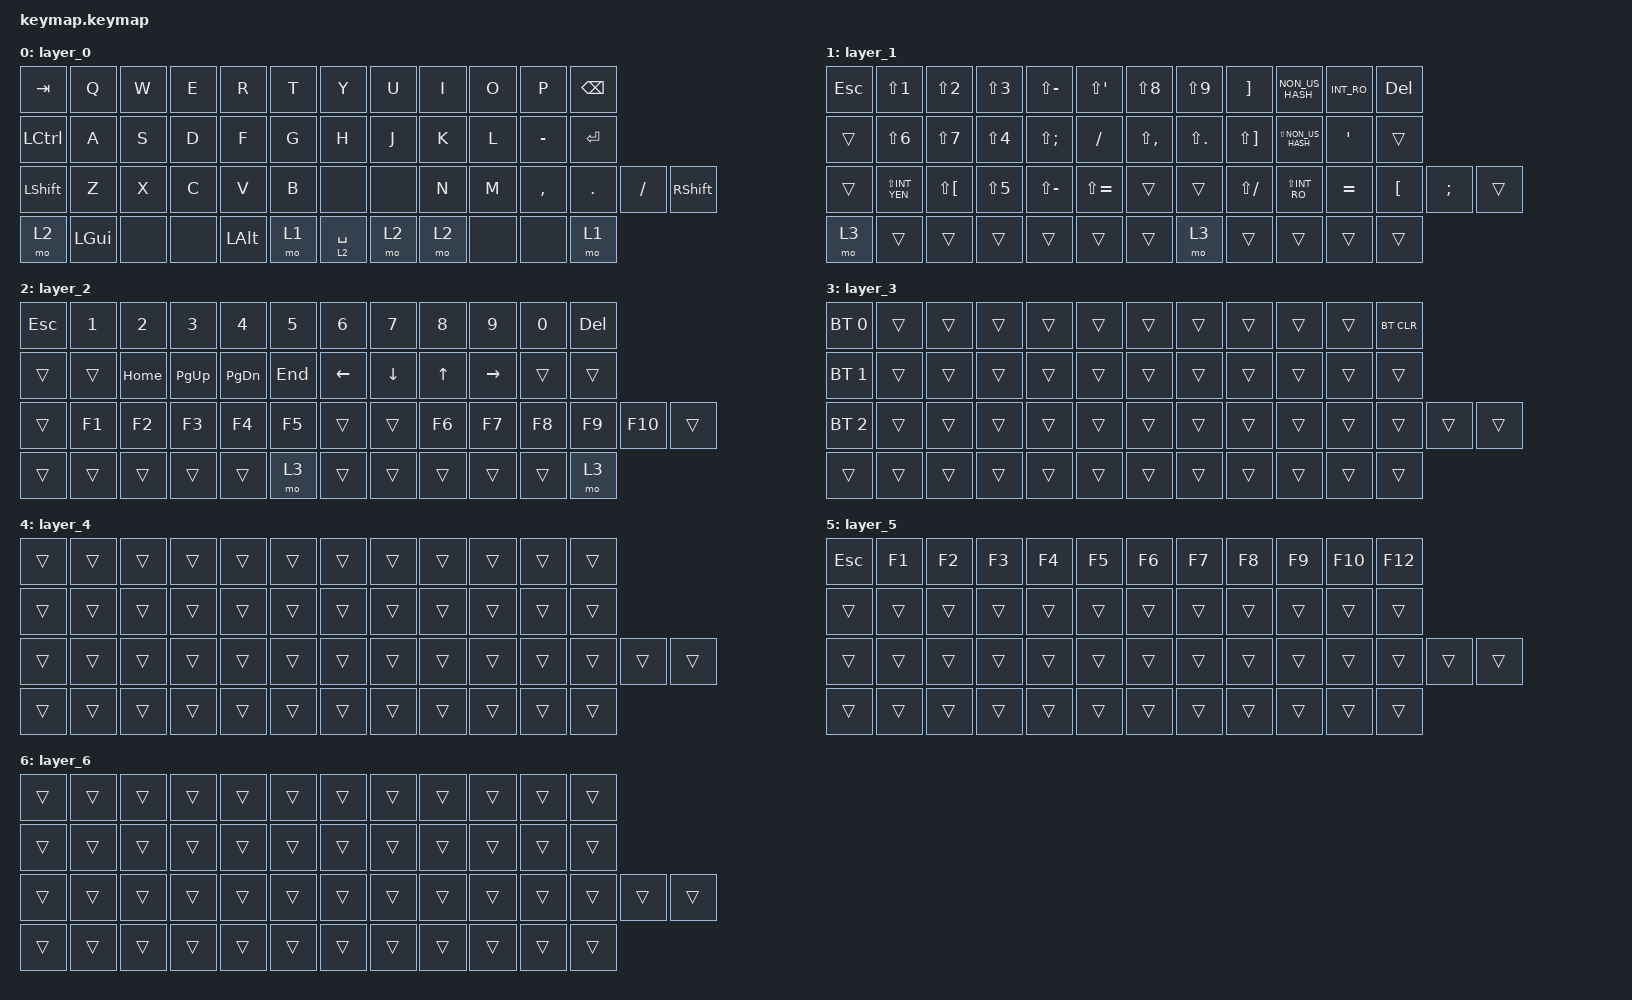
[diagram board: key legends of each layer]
#include <behaviors.dtsi>
#include <dt-bindings/zmk/bt.h>
#include <dt-bindings/zmk/keys.h>
#include <dt-bindings/zmk/pointing.h>

/ {
    combos {
        compatible = "zmk,combos";

        MKP_LCLK {
            bindings = <&mkp LCLK>;
            key-positions = <19 20>;
        };

        MKP_RCLK {
            bindings = <&mkp RCLK>;
            key-positions = <20 21>;
        };

        MKP_MCLK {
            bindings = <&mkp MCLK>;
            key-positions = <34 35>;
        };

        SCROLL {
            bindings = <&mo 4>;
            key-positions = <19 21>;
        };

        IME_OFF {
            bindings = <&kp INT_MUHENKAN>;
            key-positions = <25 26>;
        };

        IME_ON {
            bindings = <&kp INT_HENKAN>;
            key-positions = <35 36>;
        };
    };

    keymap {
        compatible = "zmk,keymap";

        layer_0 {
            bindings = <
&kp TAB    &kp Q         &kp W  &kp E  &kp R         &kp T  &kp Y             &kp U           &kp I  &kp O  &kp P      &kp BSPC
&kp LCTRL  &kp A         &kp S  &kp D  &kp F         &kp G  &kp H             &kp J           &kp K  &kp L  &kp MINUS  &kp ENTER
&kp LSHFT  &kp Z         &kp X  &kp C  &kp V         &kp B  &none             &none           &kp N  &kp M  &kp COMMA  &kp DOT    &kp SLASH     &kp RSHFT
&mo 2      &kp LEFT_GUI  &none  &none  &kp LEFT_ALT  &mo 1  &lt 2 SPACE        &mo 2           &mo 2  &none  &none      &mo 1
            >;
        };

        layer_1 {
            bindings = <
&kp ESCAPE  &kp LS(N1)      &kp LS(N2)    &kp LS(N3)  &kp LS(MINUS)  &kp LS(SQT)  &kp LS(N8)     &kp LS(N9)      &kp RBKT        &kp NON_US_HASH      &kp INT_RO  &kp DEL
&trans      &kp LS(N6)      &kp LS(N7)    &kp LS(N4)  &kp LS(SEMI)   &kp SLASH    &kp LS(COMMA)  &kp LS(PERIOD)  &kp LS(RBKT)    &kp LS(NON_US_HASH)  &kp SQT     &trans
&trans      &kp LS(INT_YEN)  &kp LS(LBKT)  &kp LS(N5)  &kp LS(MINUS)  &kp LS(EQUAL)  &trans        &trans          &kp LS(SLASH)  &kp LS(INT_RO)       &kp EQUAL   &kp LBKT  &kp SEMI  &trans
&mo 3       &trans           &trans             &trans       &trans     &trans        &trans                &mo 3                  &trans            &trans             &trans         &trans
            >;
        };

        layer_2 {
            bindings = <
&kp ESCAPE  &kp N1  &kp N2    &kp N3       &kp N4         &kp N5   &kp N6    &kp N7    &kp N8        &kp N9           &kp N0  &kp DELETE
&trans      &trans  &kp HOME  &kp PAGE_UP  &kp PAGE_DOWN  &kp END  &kp LEFT  &kp DOWN  &kp UP_ARROW  &kp RIGHT_ARROW  &trans  &trans
&trans      &kp F1  &kp F2    &kp F3       &kp F4         &kp F5   &trans    &trans    &kp F6        &kp F7           &kp F8  &kp F9      &kp F10  &trans
&trans      &trans  &trans    &trans       &trans         &mo 3    &trans    &trans    &trans        &trans           &trans  &mo 3
            >;
        };

        layer_3 {
            bindings = <
&bt BT_SEL 0  &trans  &trans  &trans  &trans  &trans  &trans  &trans  &trans  &trans  &trans  &bt BT_CLR
&bt BT_SEL 1  &trans  &trans  &trans  &trans  &trans  &trans  &trans  &trans  &trans  &trans  &trans
&bt BT_SEL 2  &trans  &trans  &trans  &trans  &trans  &trans  &trans  &trans  &trans  &trans  &trans  &trans  &trans
&trans        &trans  &trans  &trans  &trans  &trans  &trans  &trans  &trans  &trans  &trans  &trans
            >;
        };

        layer_4 {
            bindings = <
&trans  &trans  &trans  &trans  &trans  &trans  &trans  &trans  &trans  &trans  &trans  &trans
&trans  &trans  &trans  &trans  &trans  &trans  &trans  &trans  &trans  &trans  &trans  &trans
&trans  &trans  &trans  &trans  &trans  &trans  &trans  &trans  &trans  &trans  &trans  &trans  &trans  &trans
&trans  &trans  &trans  &trans  &trans  &trans  &trans  &trans  &trans  &trans  &trans  &trans
            >;
        };

        layer_5 {
            bindings = <
&kp ESC  &kp F1  &kp F2  &kp F3  &kp F4  &kp F5  &kp F6  &kp F7  &kp F8  &kp F9  &kp F10  &kp F12
&trans   &trans  &trans  &trans  &trans  &trans  &trans  &trans  &trans  &trans  &trans   &trans
&trans   &trans  &trans  &trans  &trans  &trans  &trans  &trans  &trans  &trans  &trans   &trans   &trans  &trans
&trans   &trans  &trans  &trans  &trans  &trans  &trans  &trans  &trans  &trans  &trans   &trans
            >;
        };

        layer_6 {
            bindings = <
&trans  &trans  &trans  &trans  &trans  &trans  &trans  &trans  &trans  &trans  &trans  &trans
&trans  &trans  &trans  &trans  &trans  &trans  &trans  &trans  &trans  &trans  &trans  &trans
&trans  &trans  &trans  &trans  &trans  &trans  &trans  &trans  &trans  &trans  &trans  &trans  &trans  &trans
&trans  &trans  &trans  &trans  &trans  &trans  &trans  &trans  &trans  &trans  &trans  &trans
            >;
        };
    };
};
